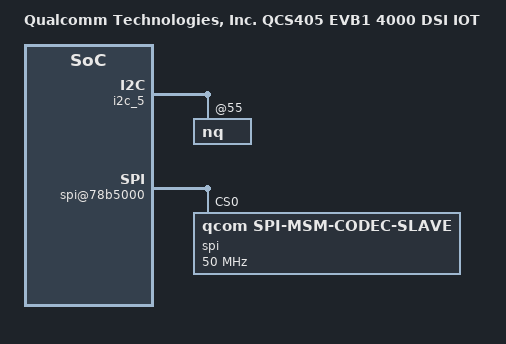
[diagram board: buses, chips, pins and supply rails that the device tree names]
/*
 * Copyright (c) 2018-2019, The Linux Foundation. All rights reserved.
 *
 * This program is free software; you can redistribute it and/or modify
 * it under the terms of the GNU General Public License version 2 and
 * only version 2 as published by the Free Software Foundation.
 *
 * This program is distributed in the hope that it will be useful,
 * but WITHOUT ANY WARRANTY; without even the implied warranty of
 * MERCHANTABILITY or FITNESS FOR A PARTICULAR PURPOSE.  See the
 * GNU General Public License for more details.
 */

/dts-v1/;

#include "qcs405.dtsi"
#include "qcs405-audio-overlay.dtsi"
#include "qcs405-geni-ir-overlay.dtsi"
#include "qcs405-circular-pca9956.dtsi"

/ {
	model = "Qualcomm Technologies, Inc. QCS405 EVB1 4000 DSI IOT";
	compatible = "qcom,qcs405-iot", "qcom,qcs405", "qcom,iot";
	qcom,board-id = <0x020020 0x1>;
};

#include "qcs405-mdss-panels.dtsi"

&mdss_hdmi_tx {
	pinctrl-names = "hdmi_hpd_active", "hdmi_ddc_active", "hdmi_cec_active",
				"hdmi_active", "hdmi_sleep";
	pinctrl-0 = <&mdss_hdmi_5v_active  &mdss_hdmi_hpd_active
			&mdss_hdmi_ddc_suspend &mdss_hdmi_cec_suspend>;
	pinctrl-1 = <&mdss_hdmi_5v_active &mdss_hdmi_hpd_active
			&mdss_hdmi_ddc_active &mdss_hdmi_cec_suspend>;
	pinctrl-2 = <&mdss_hdmi_5v_active &mdss_hdmi_hpd_active
			&mdss_hdmi_cec_active &mdss_hdmi_ddc_suspend>;
	pinctrl-3 = <&mdss_hdmi_5v_active &mdss_hdmi_hpd_active
			&mdss_hdmi_ddc_active &mdss_hdmi_cec_active>;
	pinctrl-4 = <&mdss_hdmi_5v_suspend &mdss_hdmi_hpd_suspend
			&mdss_hdmi_ddc_suspend &mdss_hdmi_cec_suspend>;
};

&mdss_mdp {
	qcom,mdss-pref-prim-intf = "dsi";
};

&mdss_dsi {
	hw-config = "single_dsi";
};

&mdss_dsi0 {
	qcom,dsi-pref-prim-pan = <&dsi_hx8394d_720_vid>;
	pinctrl-names = "mdss_default", "mdss_sleep";
	pinctrl-0 = <&mdss_dsi_active &mdss_te_active>;
	pinctrl-1 = <&mdss_dsi_suspend &mdss_te_suspend>;

	qcom,platform-te-gpio = <&tlmm 41 0>;
	qcom,platform-reset-gpio = <&tlmm 39 0>;
	qcom,platform-bklight-en-gpio = <&tlmm 48 0>;
};

&dsi_hx8394d_720_vid {
	qcom,mdss-dsi-bl-pmic-control-type = "bl_ctrl_tlmm_gpio";
	qcom,mdss-dsi-bl-pmic-bank-select = <0>;
	qcom,panel-supply-entries = <&dsi_panel_pwr_supply>;
};

&i2c_5 { /* BLSP (NTAG) */
	status = "ok";
	nq@55 {
		status = "ok";
	};
};

&soc {
	spi@78b5000 {
		status = "ok";
		spi@0 {
			compatible = "qcom,spi-msm-codec-slave";
			reg = <0>;
			spi-max-frequency = <50000000>;
		};
	};
};

&sdhc_2 {
	/delete-property/ qcom,nonhotplug;

	pinctrl-0 = <&sdc2_clk_on &sdc2_cmd_on &sdc2_data_on
			&sdc2_wlan_on>;
	pinctrl-1 = <&sdc2_clk_off &sdc2_cmd_off &sdc2_data_off
			&sdc2_wlan_off>;
};
